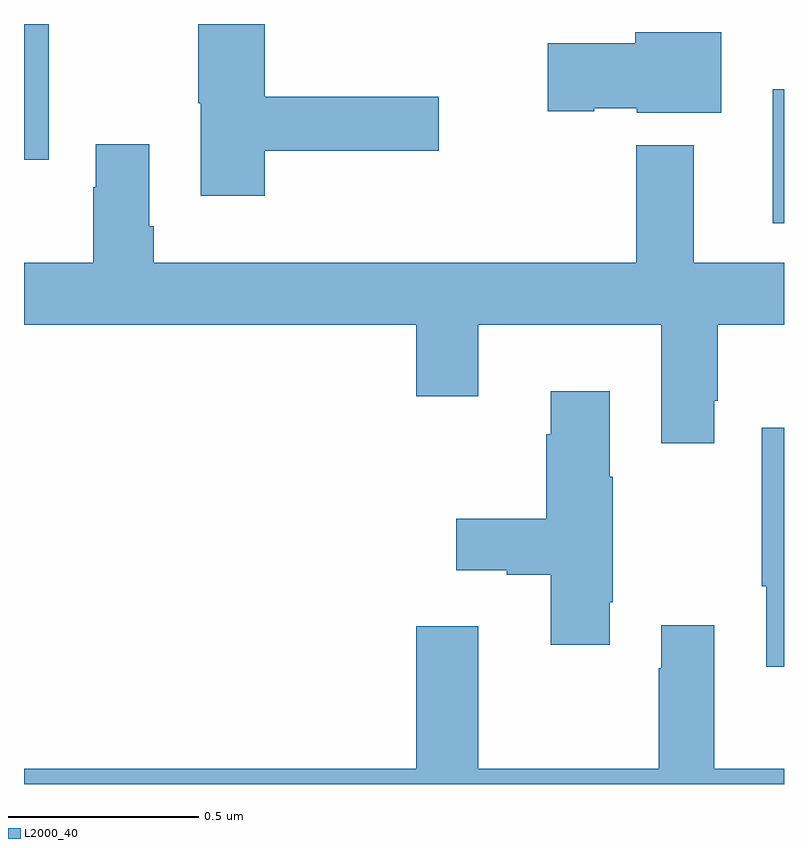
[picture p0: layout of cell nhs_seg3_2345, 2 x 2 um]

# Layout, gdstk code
import gdstk
lib = gdstk.Library(unit=1e-6, precision=1e-09)
def R(c, l, rs):  # rectangles x0, y0, x1, y1
    for r in rs: c.add(gdstk.rectangle(r[:2], r[2:], *l))
def P(c, l, *ps):  # polygons
    for p in ps: c.add(gdstk.Polygon(p, *l))
L2000_40 = (2000, 40)

nhs_seg3_2345 = lib.new_cell('nhs_seg3_2345')
R(nhs_seg3_2345, L2000_40, [(141.971,675.876,142,676.228), (140,676.043,140.065,676.4)])
P(nhs_seg3_2345, L2000_40, [(140.633,676.066),(141.091,676.066),(141.091,676.208),(140.633,676.208),(140.633,676.4),(140.458,676.4),(140.458,676.191),(140.465,676.191),(140.465,675.948),(140.633,675.948)],
  [(141.835,676.378),(141.608,676.378),(141.608,676.349),(141.378,676.349),(141.378,676.171),(141.501,676.171),(141.501,676.178),(141.612,676.178),(141.612,676.166),(141.835,676.166)],
  [(141.817,675.409),(141.825,675.409),(141.825,675.608),(142,675.608),(142,675.772),(141.763,675.772),(141.763,676.081),(141.611,676.081),(141.611,675.772),(140.342,675.772),(140.342,675.868),(140.329,675.868),(140.329,676.084),(140.189,676.084),(140.189,675.971),(140.182,675.971),(140.182,675.772),(140,675.772),(140,675.608),(141.032,675.608),(141.032,675.42),(141.196,675.42),(141.196,675.608),(141.677,675.608),(141.677,675.297),(141.817,675.297)],
  [(141.541,674.878),(141.549,674.878),(141.549,675.209),(141.541,675.209),(141.541,675.433),(141.386,675.433),(141.386,675.32),(141.374,675.32),(141.374,675.098),(141.138,675.098),(141.138,674.963),(141.27,674.963),(141.27,674.951),(141.386,674.951),(141.386,674.766),(141.541,674.766)],
  [(142,675.337),(141.942,675.337),(141.942,674.921),(141.953,674.921),(141.953,674.709),(142,674.709)],
  [(142,674.44),(141.817,674.44),(141.817,674.818),(141.677,674.818),(141.677,674.705),(141.67,674.705),(141.67,674.44),(141.196,674.44),(141.196,674.815),(141.032,674.815),(141.032,674.44),(140,674.44),(140,674.4),(142,674.4)])

lib.write_gds('nhs_seg3_2345.gds')
